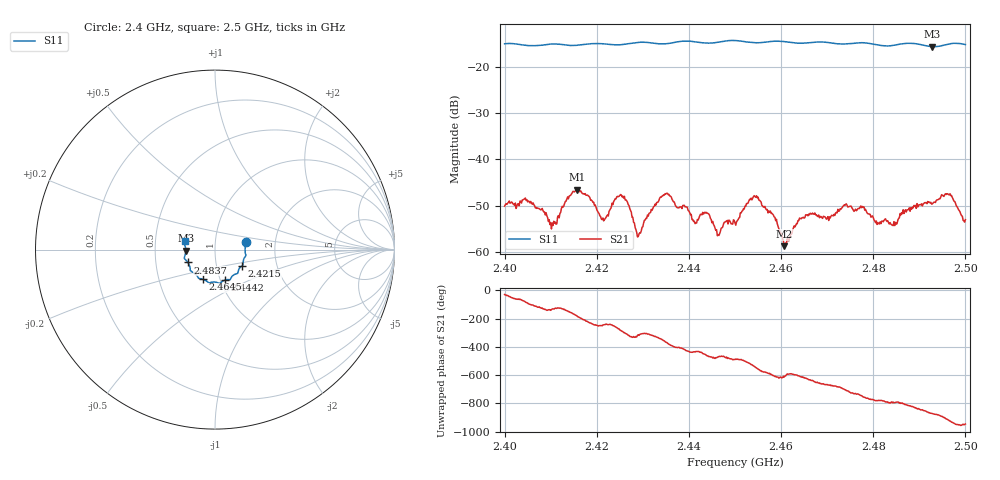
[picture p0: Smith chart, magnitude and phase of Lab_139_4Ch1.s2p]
# Hz S RI R 50
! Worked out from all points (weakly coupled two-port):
!   601 points, 2.4 GHz to 2.5 GHz, reference 50 ohm
!   highest |S21| = -46.61 dB at 2.4157 GHz (marker M1); lowest = -58.8 dB at 2.4607 GHz (marker M2)
!   lowest |S11| = -15.7 dB at 2.4928 GHz (marker M3), VSWR 1.39, Z = 35.9 - j0.388 ohm
!   |S11| at or under -10 dB: start of sweep to end of sweep
!   S12 and S22 are empty: the file has one direction only
!   S11 on the Smith chart (normalised r, x): 2.4 GHz: 1.41, +0.12; 2.4215 GHz: 1.33, -0.25; 2.4442 GHz: 1.05, -0.37; 2.4645 GHz: 0.83, -0.29; 2.4837 GHz: 0.73, -0.11; 2.5 GHz: 0.71, +0.07
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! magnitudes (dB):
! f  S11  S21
! 2.4 GHz  -15.1  -50.1
! 2.4047 GHz  -15.5  -48.9
! 2.4107 GHz  -15.1  -53.4
! 2.4157 GHz  -15.4  -46.6
! 2.4167 GHz  -15.3  -47.1
! 2.4215 GHz  -15.1  -53.3
! 2.4255 GHz  -15.3  -48.1
! 2.4292 GHz  -14.8  -56.2
! 2.4333 GHz  -15.1  -49.2
! 2.4442 GHz  -15.0  -51.7
! 2.4463 GHz  -14.8  -56.3
! 2.45 GHz  -14.4  -53.7
! 2.4545 GHz  -14.9  -48.2
! 2.4607 GHz  -14.6  -58.8
! 2.4645 GHz  -15.0  -52.7
! 2.4667 GHz  -14.8  -51.9
! 2.474 GHz  -15.1  -49.7
! 2.4833 GHz  -15.6  -53.7
! 2.4837 GHz  -15.5  -53.7
! 2.4928 GHz  -15.7  -49.6
! 2.4965 GHz  -15.1  -47.7
! 2.5 GHz  -15.3  -53.0
